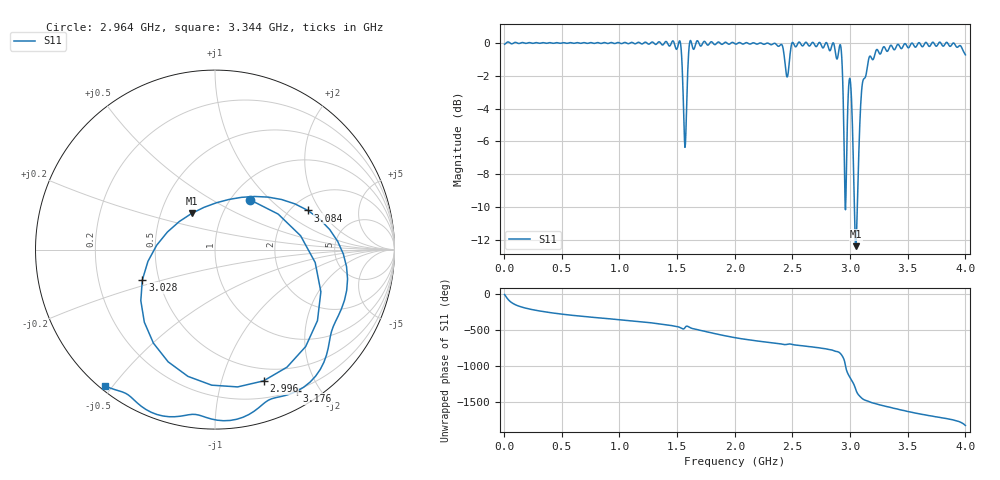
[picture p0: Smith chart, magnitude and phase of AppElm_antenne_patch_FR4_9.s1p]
! TOUCHSTONE file generated by CST MICROWAVE STUDIO
! Date and time: Tue Jun  7 20:32:34 2022
! Project name: AppElm_antenne_patch_FR4.cst
! Parameters = {L=45; W=58.5; e=0.035; h=1.6; lambda=0.190476; ls=120; w0=1.6; w1=0.533333; ws=120; y0=23; y1=23.8095}
! Header version: 2018
! Port assignment regex: !\s*Touchstone port\s*([0-9]+)\s*=\s*(CST MWS port|CST DS port)\s*([0-9]+|Zmin|Zmax)\s*\(\"(.*)\"\)(\s*mode\s*([0-9]+))?.*
! Touchstone port assignment:
! Touchstone port 1 = CST MWS port 1 ("")
# GHz S MA R 50
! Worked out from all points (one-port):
!   1000 points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, 4 MHz to 4 GHz, reference 50 ohm
!   lowest |S11| = -12.4 dB at 3.048 GHz (marker M1), VSWR 1.63, Z = 35.7 + j15.3 ohm
!   |S11| at or under -10 dB: 2.958845 GHz to 2.960906 GHz (2.061 MHz wide, 0.0696 % of centre); 3.037 GHz to 3.063 GHz (26.03 MHz wide, 0.853 % of centre)
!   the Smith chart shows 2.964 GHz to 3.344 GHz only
!   S11 on the Smith chart (normalised r, x): 2.964 GHz: 1.22, +0.76; 2.996 GHz: 0.37, -1.37; 3.028 GHz: 0.40, -0.17; 3.084 GHz: 2.44, +1.55; 3.176 GHz: 0.19, -1.72; 3.344 GHz: 0.02, -0.48
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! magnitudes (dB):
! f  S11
! 4 MHz  -0.1
! 504 MHz  0.0
! 1.004 GHz  0.0
! 1.504 GHz  -0.3
! 1.528 GHz  0.0
! 1.568 GHz  -6.4
! 1.58 GHz  -4.5
! 1.604 GHz  -0.2
! 1.62 GHz  0.1
! 2.004 GHz  -0.1
! 2.396 GHz  -0.1
! 2.452 GHz  -2.1
! 2.504 GHz  0.0
! 2.912 GHz  -0.1
! 2.928 GHz  -0.9
! 2.952 GHz  -8.0
! 2.964 GHz  -9.4
! 2.996 GHz  -2.2
! 3.004 GHz  -2.4
! 3.028 GHz  -7.2
! 3.048 GHz  -12.4
! 3.06 GHz  -10.7
! 3.084 GHz  -5.0
! 3.112 GHz  -2.3
! 3.176 GHz  -0.8
! 3.344 GHz  -0.2
! 3.504 GHz  -0.3
! 4 GHz  -0.7
